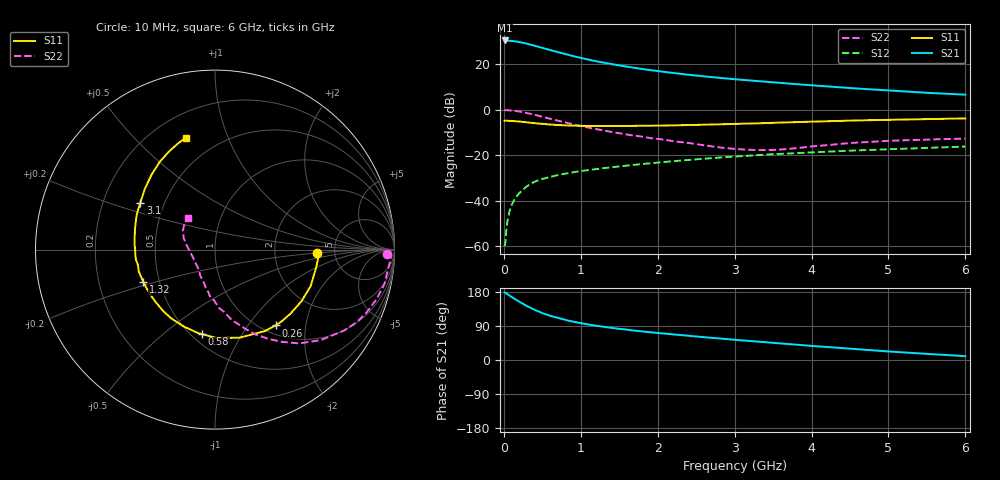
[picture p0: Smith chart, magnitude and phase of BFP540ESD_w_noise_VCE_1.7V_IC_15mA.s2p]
! Infineon Technologies  Discrete & RF Semiconductors
! BFP540ESD
! VCE =  1.7 V,  IC =  15 mA
! Common Emitter S-Parameters:  Nov 2015
# GHz  S  MA  R  50
!  f  S11  S21  S12  S22
! GHz  MAG  ANG  MAG  ANG  MAG  ANG  MAG  ANG
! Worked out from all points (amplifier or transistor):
!   210 points, 10 MHz to 6 GHz, reference 50 ohm
!   highest |S21| = 30.5 dB at 10 MHz (marker M1)
!   |S21| within 3 dB of that: start of sweep to 474.9 MHz
!   unconditionally stable (mu >= 1): 2.356 GHz to end of sweep
!   at 185 MHz: K = 0.16, MSG = 33.6 dB, |S12| = -37.3 dB
!   at 1.52 GHz: K = 0.84, MSG = 22.1 dB, |S12| = -24.9 dB
!   at 6 GHz: K = 1.13, MAG = 9.2 dB, |S12| = -16.2 dB
!   lowest NFmin = 1.03 dB at 900 MHz
!   S11 on the Smith chart (normalised r, x): 10 MHz: 3.62, -0.20; 260 MHz: 1.15, -1.37; 580 MHz: 0.56, -0.69; 1.32 GHz: 0.41, -0.18; 3.1 GHz: 0.37, +0.25; 6 GHz: 0.34, +0.72
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0.01  0.5687 -1.9  33.38 178.3  0.001 82.1  0.9595 -1.5
0.02  0.5771 -4.5  33.37 177.4  0.0012 100.7  0.9835 -2.1
0.1  0.5705 -20.8  32.64 166.5  0.008 84.0  0.9631 -11.5
0.145  0.5614 -29.7  31.99 160.7  0.011 79.1  0.9437 -16.4
0.2  0.5516 -40.4  30.86 153.7  0.0146 75.8  0.9148 -22.5
0.26  0.5413 -51.3  29.37 146.7  0.0182 71.3  0.877 -28.4
0.3  0.5321 -58.6  28.36 142.3  0.0207 69.8  0.8477 -32.2
0.4  0.5094 -74.6  25.58 132.4  0.0262 64.8  0.7744 -40.7
0.5  0.492 -89.3  23.05 123.8  0.0301 61.0  0.7007 -48.2
0.58  0.4764 -98.8  21.02 118.3  0.0327 58.8  0.6462 -52.9
0.7  0.4627 -111.9  18.53 110.9  0.0367 56.4  0.5755 -59.5
0.8  0.4544 -122.0  16.68 105.5  0.0393 54.2  0.5226 -64.6
0.9  0.4484 -129.9  15.11 101.1  0.0422 53.6  0.4776 -68.6
1.02  0.4411 -138.6  13.54 96.5  0.0453 52.6  0.431 -73.1
1.32  0.4379 -155.8  10.67 87.1  0.0525 50.8  0.3436 -82.8
1.6  0.4378 -168.7  8.837 79.9  0.0591 49.4  0.2838 -90.9
2.02  0.4484 176.5  7.008 70.9  0.0693 47.6  0.2271 -102.3
2.6  0.4694 160.0  5.418 60.2  0.0837 44.5  0.1657 -120.3
3.1  0.4909 148.0  4.542 51.8  0.0957 41.0  0.134 -140.1
4.1  0.5528 128.4  3.353 35.8  0.1176 32.9  0.1609 170.3
5.1  0.6066 114.1  2.594 21.3  0.1373 24.6  0.2099 147.9
6  0.6441 104.7  2.143 10.1  0.1551 18.1  0.2323 131.2
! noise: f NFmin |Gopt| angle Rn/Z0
0.9  1.03  0.22  -135  0.11
1.8  1.2  0.25  -147  0.1
2.4  1.21  0.25  -139  0.1
3  1.32  0.29  -136  0.11
4  1.4  0.41  -108  0.2
5  1.57  0.5  -90  0.3
6  1.83  0.54  -91  0.52
